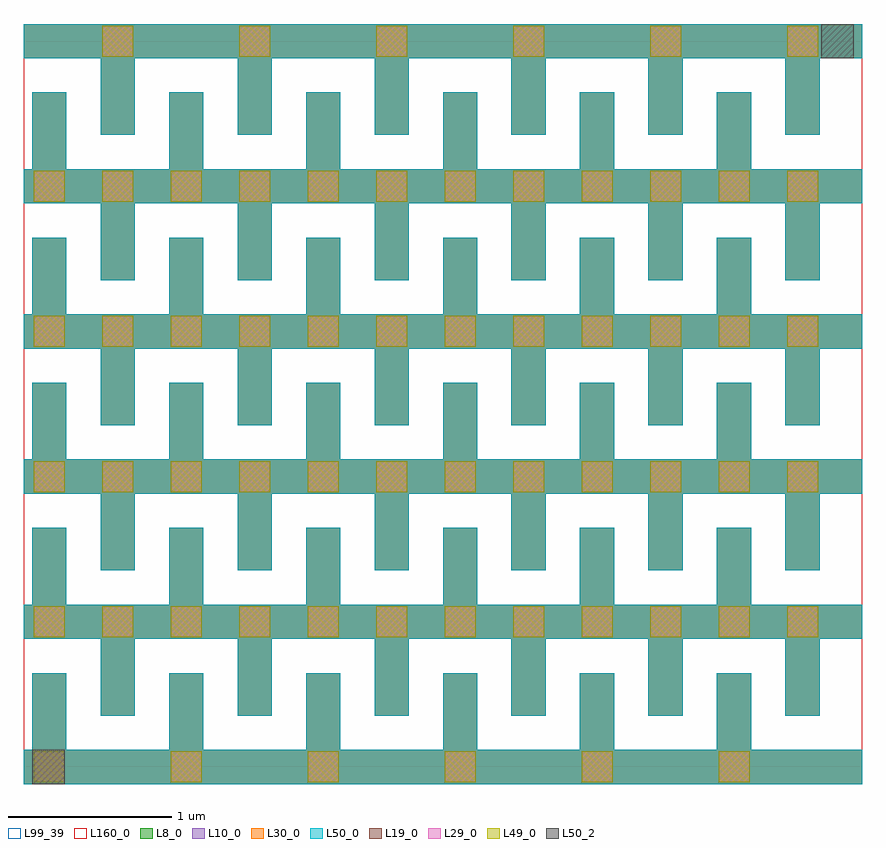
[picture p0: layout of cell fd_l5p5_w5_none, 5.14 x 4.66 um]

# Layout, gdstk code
import gdstk
lib = gdstk.Library(unit=1e-6, precision=1e-09)
def R(c, l, rs):  # rectangles x0, y0, x1, y1
    for r in rs: c.add(gdstk.rectangle(r[:2], r[2:], *l))
def A(c, l, x, y, w, h, nx, ny, dx, dy):  # array of equal rectangles
    R(c, l, [(x+i*dx, y+j*dy, x+i*dx+w, y+j*dy+h) for i in range(nx) for j in range(ny)])
L8_0 = (8, 0)
L10_0 = (10, 0)
L19_0 = (19, 0)
L29_0 = (29, 0)
L30_0 = (30, 0)
L49_0 = (49, 0)
L50_0 = (50, 0)
L50_2 = (50, 2)
L99_39 = (99, 39)
L160_0 = (160, 0)

fd_l5p5_w5_none = lib.new_cell('fd_l5p5_w5_none')
A(fd_l5p5_w5_none, L8_0, -0.05, -0.105, 5.14, 0.21, 1, 6, 0, 0.89)
A(fd_l5p5_w5_none, L8_0, 0, 0, 0.21, 0.575, 6, 5, 0.84, 0.89)
A(fd_l5p5_w5_none, L8_0, 0.42, 0.315, 0.21, 0.575, 6, 5, 0.84, 0.89)
A(fd_l5p5_w5_none, L10_0, -0.05, -0.105, 5.14, 0.21, 1, 6, 0, 0.89)
A(fd_l5p5_w5_none, L10_0, 0, 0, 0.21, 0.575, 6, 5, 0.84, 0.89)
A(fd_l5p5_w5_none, L10_0, 0.42, 0.315, 0.21, 0.575, 6, 5, 0.84, 0.89)
A(fd_l5p5_w5_none, L19_0, 0.01, -0.095, 0.19, 0.19, 6, 1, 0.84, 0)
A(fd_l5p5_w5_none, L19_0, 0.01, 0.795, 0.19, 0.19, 12, 4, 0.42, 0.89)
A(fd_l5p5_w5_none, L19_0, 0.43, 4.355, 0.19, 0.19, 6, 1, 0.84, 0)
A(fd_l5p5_w5_none, L29_0, 0.01, -0.095, 0.19, 0.19, 6, 1, 0.84, 0)
A(fd_l5p5_w5_none, L29_0, 0.01, 0.795, 0.19, 0.19, 12, 4, 0.42, 0.89)
A(fd_l5p5_w5_none, L29_0, 0.43, 4.355, 0.19, 0.19, 6, 1, 0.84, 0)
A(fd_l5p5_w5_none, L30_0, -0.05, -0.105, 5.14, 0.21, 1, 6, 0, 0.89)
A(fd_l5p5_w5_none, L30_0, 0, 0, 0.21, 0.575, 6, 5, 0.84, 0.89)
A(fd_l5p5_w5_none, L30_0, 0.42, 0.315, 0.21, 0.575, 6, 5, 0.84, 0.89)
A(fd_l5p5_w5_none, L49_0, 0.01, -0.095, 0.19, 0.19, 6, 1, 0.84, 0)
A(fd_l5p5_w5_none, L49_0, 0.01, 0.795, 0.19, 0.19, 12, 4, 0.42, 0.89)
A(fd_l5p5_w5_none, L49_0, 0.43, 4.355, 0.19, 0.19, 6, 1, 0.84, 0)
A(fd_l5p5_w5_none, L50_0, -0.05, -0.105, 5.14, 0.21, 1, 6, 0, 0.89)
A(fd_l5p5_w5_none, L50_0, 0, 0, 0.21, 0.575, 6, 5, 0.84, 0.89)
A(fd_l5p5_w5_none, L50_0, 0.42, 0.315, 0.21, 0.575, 6, 5, 0.84, 0.89)
R(fd_l5p5_w5_none, L50_2, [(0,-0.105,0.2,0.105), (4.84,4.345,5.04,4.555)])
R(fd_l5p5_w5_none, L99_39, [(-0.05,0,5.09,4.45)])
R(fd_l5p5_w5_none, L160_0, [(-0.05,0,5.09,4.45)])
fd_l5p5_w5_none.add(gdstk.Label('cap_cmomi C=24.447fF', (-0.05,-0.5), layer=63, texttype=0))

lib.write_gds('fd_l5p5_w5_none.gds')
